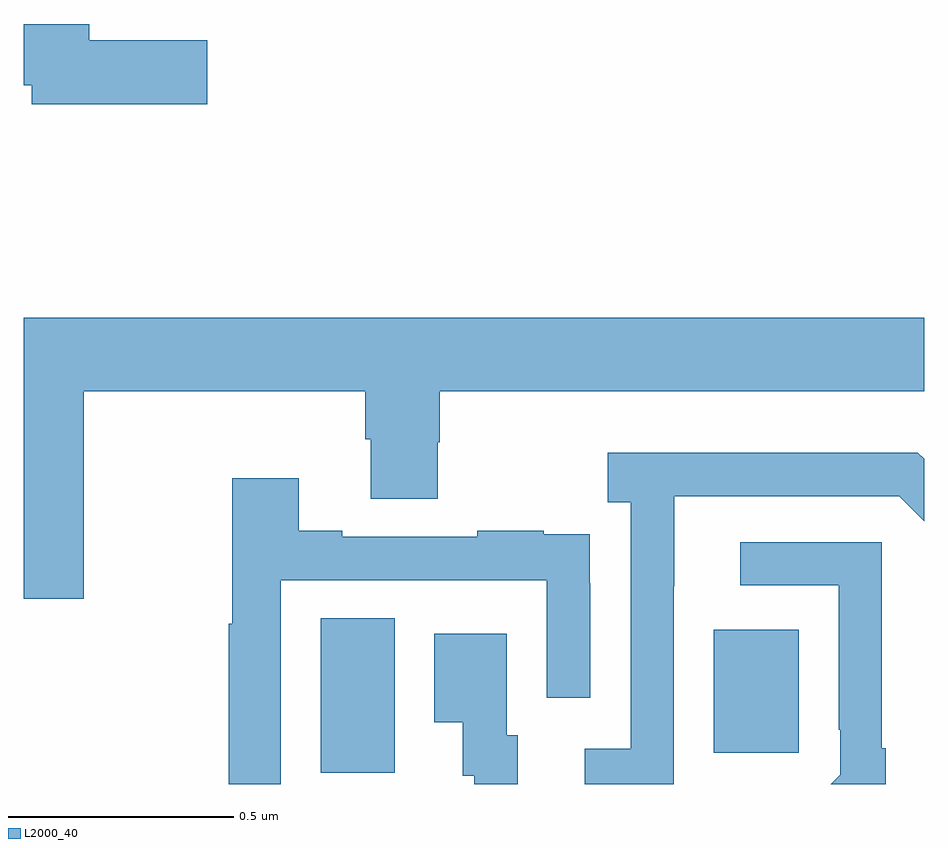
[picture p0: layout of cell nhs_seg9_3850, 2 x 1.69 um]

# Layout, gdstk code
import gdstk
lib = gdstk.Library(unit=1e-6, precision=1e-09)
def R(c, l, rs):  # rectangles x0, y0, x1, y1
    for r in rs: c.add(gdstk.rectangle(r[:2], r[2:], *l))
def P(c, l, *ps):  # polygons
    for p in ps: c.add(gdstk.Polygon(p, *l))
L2000_40 = (2000, 40)

nhs_seg9_3850 = lib.new_cell('nhs_seg9_3850')
R(nhs_seg9_3850, L2000_40, [(158.66,1243.525,158.824,1243.868), (159.533,1243.569,159.721,1243.843)])
P(nhs_seg9_3850, L2000_40, [(158.407,1245.152),(158.146,1245.152),(158.146,1245.188),(158,1245.188),(158,1245.052),(158.018,1245.052),(158.018,1245.01),(158.407,1245.01)],
  [(158.133,1244.372),(158.759,1244.372),(158.759,1244.266),(158.771,1244.266),(158.771,1244.134),(158.919,1244.134),(158.919,1244.259),(158.924,1244.259),(158.924,1244.372),(160,1244.372),(160,1244.536),(158,1244.536),(158,1243.911),(158.133,1243.911)],
  [(159.444,1243.939),(159.445,1243.939),(159.445,1244.139),(159.945,1244.139),(160,1244.084),(160,1244.222),(159.986,1244.236),(159.297,1244.236),(159.297,1244.126),(159.348,1244.126),(159.348,1243.578),(159.246,1243.578),(159.246,1243.5),(159.444,1243.5)],
  [(158.571,1243.953),(159.162,1243.953),(159.162,1243.692),(159.258,1243.692),(159.258,1243.946),(159.257,1243.946),(159.257,1244.055),(159.155,1244.055),(159.155,1244.062),(159.007,1244.062),(159.007,1244.049),(158.707,1244.049),(158.707,1244.062),(158.611,1244.062),(158.611,1244.179),(158.463,1244.179),(158.463,1243.856),(158.455,1243.856),(158.455,1243.5),(158.571,1243.5)],
  [(159.914,1243.579),(159.906,1243.579),(159.906,1244.037),(159.591,1244.037),(159.591,1243.941),(159.81,1243.941),(159.81,1243.621),(159.813,1243.621),(159.813,1243.521),(159.792,1243.5),(159.914,1243.5)],
  [(159.097,1243.608),(159.073,1243.608),(159.073,1243.834),(158.912,1243.834),(158.912,1243.637),(158.975,1243.637),(158.975,1243.518),(159,1243.518),(159,1243.5),(159.097,1243.5)])

lib.write_gds('nhs_seg9_3850.gds')
